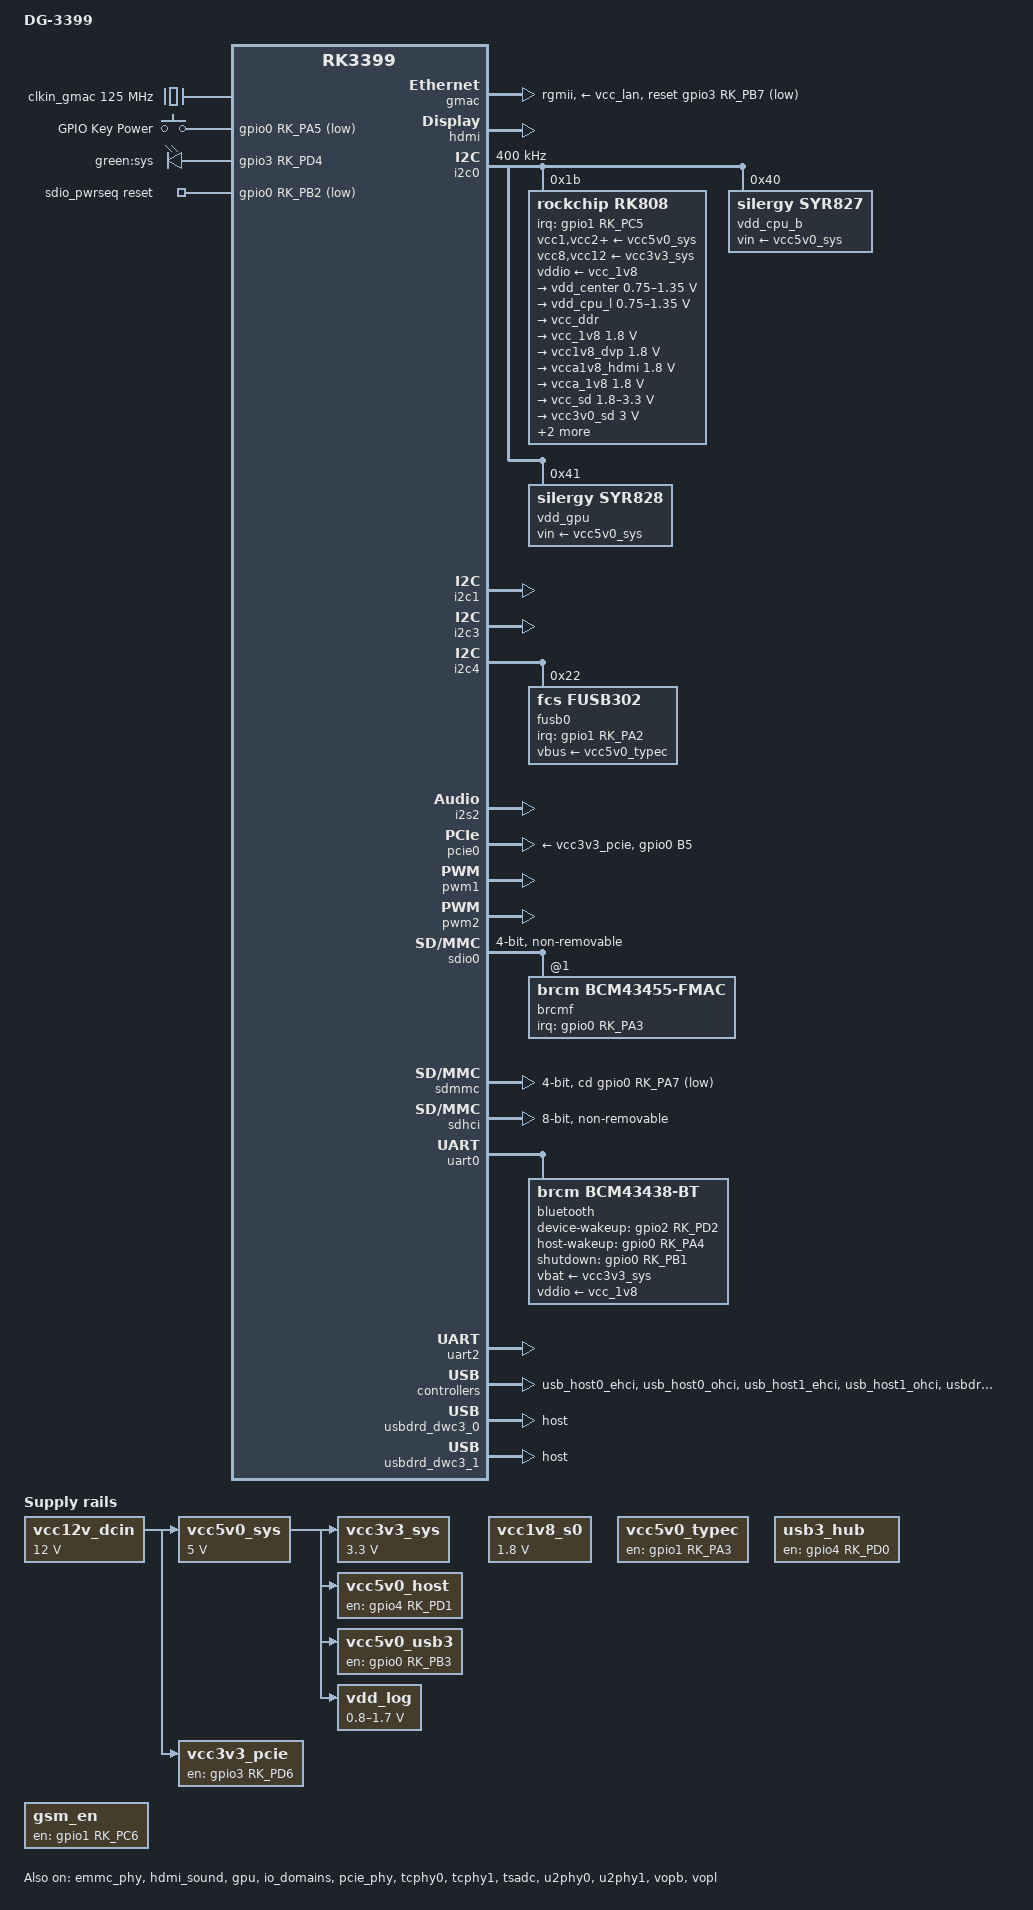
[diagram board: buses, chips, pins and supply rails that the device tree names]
// SPDX-License-Identifier: (GPL-2.0+ OR MIT)
/dts-v1/;

#include <dt-bindings/input/linux-event-codes.h>
#include <dt-bindings/pwm/pwm.h>
#include "dt-bindings/input/input.h"
#include <dt-bindings/interrupt-controller/irq.h>
#include "dt-bindings/usb/pd.h"
#include "rk3399.dtsi"
#include "rk3399-opp.dtsi"

/ {
	model = "DG-3399";
	compatible = "ryd,dg-3399", "rockchip,rk3399";

	aliases {
		mmc0 = &sdio0;
		mmc1 = &sdmmc;
		mmc2 = &sdhci;
	};

	chosen {
		stdout-path = "serial2:1500000n8";
	};

	clkin_gmac: external-gmac-clock {
		compatible = "fixed-clock";
		clock-frequency = <125000000>;
		clock-output-names = "clkin_gmac";
		#clock-cells = <0>;
	};

	gpio-keys {
		compatible = "gpio-keys";
		autorepeat;
		pinctrl-names = "default";
		pinctrl-0 = <&pwrbtn>;

		key-power {
			debounce-interval = <100>;
			gpios = <&gpio0 RK_PA5 GPIO_ACTIVE_LOW>; // bsp
			label = "GPIO Key Power";
			linux,code = <KEY_POWER>;
			wakeup-source;
		};
	};
/*
	ir-receiver {
		compatible = "gpio-ir-receiver";
		gpios = <&gpio0 RK_PA6 GPIO_ACTIVE_LOW>;
		pinctrl-0 = <&ir_int>;
		pinctrl-names = "default";
	};
*/
	leds {
		compatible = "gpio-leds";
		pinctrl-names = "default";
		pinctrl-0 = <&sys_led_pin>;

		sys_led: led-0 {
			label = "green:sys";
			default-state = "off";
			linux,default-trigger = "heartbeat";
			gpios = <&gpio3 RK_PD4 GPIO_ACTIVE_HIGH>; // bsp
		};
	};

	sdio_pwrseq: sdio-pwrseq {
		compatible = "mmc-pwrseq-simple";
		clocks = <&rk808 1>;
		clock-names = "ext_clock";
		pinctrl-names = "default";
		pinctrl-0 = <&wifi_enable_h>;
		reset-gpios = <&gpio0 RK_PB2 GPIO_ACTIVE_LOW>; // bsp
	};

	vcc12v_dcin: vcc12v-dcin {
		compatible = "regulator-fixed";
		regulator-name = "vcc12v_dcin";
		regulator-always-on;
		regulator-boot-on;
		regulator-min-microvolt = <12000000>;
		regulator-max-microvolt = <12000000>;
	};

	vcc1v8_s0: vcc1v8-s0 {
		compatible = "regulator-fixed"; // bsp
		regulator-name = "vcc1v8_s0";
		regulator-always-on;
		regulator-boot-on;
		regulator-min-microvolt = <1800000>;
		regulator-max-microvolt = <1800000>;
	};

	vcc3v3_sys: vcc3v3-sys {
		compatible = "regulator-fixed"; // bsp
		regulator-name = "vcc3v3_sys";
		regulator-always-on;
		regulator-boot-on;
		regulator-min-microvolt = <3300000>;
		regulator-max-microvolt = <3300000>;
		vin-supply = <&vcc5v0_sys>;
	};

	vcc5v0_host: vcc5v0-host-regulator {
		compatible = "regulator-fixed";
		enable-active-high;
		gpio = <&gpio4 RK_PD1 GPIO_ACTIVE_HIGH>;
		pinctrl-names = "default";
		pinctrl-0 = <&vcc5v0_host_en>; // bsp
		regulator-name = "vcc5v0_host";
		regulator-always-on;
		vin-supply = <&vcc5v0_sys>;
	};

	vcc5v0_typec: vcc5v0-typec-regulator {
		compatible = "regulator-fixed";
		enable-active-high;
		gpio = <&gpio1 RK_PA3 GPIO_ACTIVE_HIGH>; //bsp
		pinctrl-names = "default";
		pinctrl-0 = <&vcc5v0_typec_en>;
		regulator-name = "vcc5v0_typec";
		regulator-always-on;
	};

	vcc5v0_usb3: vcc5v0-usb3-regulator {
		compatible = "regulator-fixed";
		enable-active-high;
		gpio = <&gpio0 RK_PB3 GPIO_ACTIVE_HIGH>;
		pinctrl-names = "default";
		pinctrl-0 = <&vcc5v0_usb3_en>; // bsp
		regulator-name = "vcc5v0_usb3";
		regulator-always-on;
		vin-supply = <&vcc5v0_sys>;
	};

	vcc5v0_sys: vcc5v0-sys {
		compatible = "regulator-fixed";
		regulator-name = "vcc5v0_sys";
		regulator-always-on;
		regulator-boot-on;
		regulator-min-microvolt = <5000000>;
		regulator-max-microvolt = <5000000>;
		vin-supply = <&vcc12v_dcin>;
	};

	vdd_log: vdd-log {
		compatible = "pwm-regulator";
		pwms = <&pwm2 0 25000 1>;
		pwm-supply = <&vcc5v0_sys>;
		regulator-name = "vdd_log";
		regulator-always-on;
		regulator-boot-on;
		regulator-min-microvolt = <800000>;
		regulator-max-microvolt = <1700000>;
	};

	usb3_hub: usb3-hub-en {
		compatible = "regulator-fixed";
		enable-active-high;
		gpio = <&gpio4 RK_PD0 GPIO_ACTIVE_HIGH>;
		pinctrl-names = "default";
		pinctrl-0 = <&usb3_hub_en>; // bsp
		regulator-name = "usb3_hub_en";
		regulator-always-on;
	};

	gsm_en: gsm-en {
		compatible = "regulator-fixed";
		enable-active-high;
		gpio = <&gpio1 RK_PC6 GPIO_ACTIVE_HIGH>; // bsp
		pinctrl-names = "default";
		pinctrl-0 = <&gsm_power_en>; // bsp
		regulator-name = "gsm_power_en";
		regulator-always-on;
	};

	vcc3v3_pcie: vcc3v3-pcie-regulator {
		compatible = "regulator-fixed";
		enable-active-high;
		gpio = <&gpio3 RK_PD6 GPIO_ACTIVE_HIGH>; // verify
		pinctrl-names = "default";
		pinctrl-0 = <&pcie_pwr_en>;
		regulator-name = "vcc3v3_pcie";
		regulator-always-on;
		regulator-boot-on;
		vin-supply = <&vcc12v_dcin>;
	};
/*
	watchdog: watchdog-en {
		compatible = "regulator-fixed";
		enable-active-low;
		gpio = <&gpio1 RK_PA4 GPIO_ACTIVE_LOW>; // bsp
		pinctrl-names = "default";
		pinctrl-0 = <&watchdog_en>; // bsp
		regulator-name = "watchdog_en";
		regulator-always-on;
	};

	watchdog: watchdog {
		pinctrl-names = "default";
		pinctrl-0 = <&watchdog_feed>;
		compatible = "linux,wdt-gpio";
		always-running;
		gpios = <&gpio1 RK_PA4 GPIO_ACTIVE_HIGH>;
		hw_algo = "toggle";
		hw_margin_ms = <1500>;
		status = "disabled";
	};
*/
/*
	rt5651-sound {
		status = "okay";
		compatible = "simple-audio-card";
		pinctrl-names = "default";
		pinctrl-0 = <&hp_det>;

		simple-audio-card,name = "rt5651";
		simple-audio-card,format = "i2s";
		simple-audio-card,mclk-fs = <256>;
		simple-audio-card,hp-det-gpio = <&gpio4 RK_PD4 GPIO_ACTIVE_HIGH>; // bsp
		simple-audio-card,aux-devs = <&speaker_amp>;
		simple-audio-card,pin-switches = "Speaker";
		simple-audio-card,widgets =
			"Microphone", "Headset Microphone",
			"Microphone", "Internal Microphone",
			"Headphone", "Headphones",
			"Speaker", "Speaker";
		simple-audio-card,routing =
			"Headphones", "HPOL",
			"Headphones", "HPOR",

			"Internal Microphone", "micbias1",
			"IN2P", "Internal Microphone",
			"IN2N", "Internal Microphone",
			"IN1P", "Headset Microphone",

			"Speaker Amplifier INL", "HPOL",
			"Speaker Amplifier INR", "HPOR",
			"Speaker", "Speaker Amplifier OUTL",
			"Speaker", "Speaker Amplifier OUTR";
		simple-audio-card,cpu {
			sound-dai = <&i2s0>;
		};
		simple-audio-card,codec {
			sound-dai = <&rt5651>;
		};
	};

	speaker_amp: speaker-amplifier {
		compatible = "simple-audio-amplifier";
		pinctrl-names = "default";
		pinctrl-0 = <&spk_ctl>;
		enable-gpios = <&gpio4 RK_PC5 GPIO_ACTIVE_HIGH>; // bsp
		sound-name-prefix = "Speaker Amplifier";
		vcc-supply = <&vcc5v0_sys>;
	};
*/
/*
	lcd_bl: lcd-bl {
			compatible = "gpio-backlight";
			gpios = <&gpio 44 GPIO_ACTIVE_HIGH>;
	};
*/
};

&cpu_l0 {
	cpu-supply = <&vdd_cpu_l>;
};

&cpu_l1 {
	cpu-supply = <&vdd_cpu_l>;
};

&cpu_l2 {
	cpu-supply = <&vdd_cpu_l>;
};

&cpu_l3 {
	cpu-supply = <&vdd_cpu_l>;
};

&cpu_b0 {
	cpu-supply = <&vdd_cpu_b>;
};

&cpu_b1 {
	cpu-supply = <&vdd_cpu_b>;
};

&emmc_phy {
	status = "okay";
};

&gmac {
	assigned-clocks = <&cru SCLK_RMII_SRC>;
	assigned-clock-parents = <&clkin_gmac>;
	clock_in_out = "input";
	phy-supply = <&vcc_lan>;
	phy-mode = "rgmii";
	pinctrl-names = "default";
	pinctrl-0 = <&rgmii_pins>;
	snps,reset-gpio = <&gpio3 RK_PB7 GPIO_ACTIVE_LOW>; // bsp
	snps,reset-active-low;
	snps,reset-delays-us = <0 10000 50000>;
	tx_delay = <0x28>;
	rx_delay = <0x11>;
	status = "okay";
};

&hdmi {
	ddc-i2c-bus = <&i2c3>;
	pinctrl-names = "default";
	pinctrl-0 = <&hdmi_cec>;
	status = "okay";
};

&hdmi_sound {
	status = "okay";
};

&gpu {
	mali-supply = <&vdd_gpu>;
	status = "okay";
};

&i2c0 {
	clock-frequency = <400000>;
	i2c-scl-rising-time-ns = <168>;
	i2c-scl-falling-time-ns = <4>;
	status = "okay";

	rk808: pmic@1b {
		compatible = "rockchip,rk808";
		reg = <0x1b>;
		interrupt-parent = <&gpio1>;
		interrupts = <RK_PC5 IRQ_TYPE_LEVEL_LOW>;
		#clock-cells = <1>;
		clock-output-names = "xin32k", "rk808-clkout2";
		pinctrl-names = "default";
		pinctrl-0 = <&pmic_int_l>;
		rockchip,system-power-controller;
		wakeup-source;

		vcc1-supply = <&vcc5v0_sys>;
		vcc2-supply = <&vcc5v0_sys>;
		vcc3-supply = <&vcc5v0_sys>;
		vcc4-supply = <&vcc5v0_sys>;
		vcc6-supply = <&vcc5v0_sys>;
		vcc7-supply = <&vcc5v0_sys>;
		vcc8-supply = <&vcc3v3_sys>;
		vcc9-supply = <&vcc5v0_sys>;
		vcc10-supply = <&vcc5v0_sys>;
		vcc11-supply = <&vcc5v0_sys>;
		vcc12-supply = <&vcc3v3_sys>;
		vddio-supply = <&vcc_1v8>;

		regulators {
			vdd_center: DCDC_REG1 {
				regulator-name = "vdd_center";
				regulator-always-on;
				regulator-boot-on;
				regulator-min-microvolt = <750000>;
				regulator-max-microvolt = <1350000>;
				regulator-ramp-delay = <6001>;
				regulator-state-mem {
					regulator-off-in-suspend;
				};
			};

			vdd_cpu_l: DCDC_REG2 {
				regulator-name = "vdd_cpu_l";
				regulator-always-on;
				regulator-boot-on;
				regulator-min-microvolt = <750000>;
				regulator-max-microvolt = <1350000>;
				regulator-ramp-delay = <6001>;
				regulator-state-mem {
					regulator-off-in-suspend;
				};
			};

			vcc_ddr: DCDC_REG3 {
				regulator-name = "vcc_ddr";
				regulator-always-on;
				regulator-boot-on;
				regulator-state-mem {
					regulator-on-in-suspend;
				};
			};

			vcc_1v8: DCDC_REG4 {
				regulator-name = "vcc_1v8";
				regulator-always-on;
				regulator-boot-on;
				regulator-min-microvolt = <1800000>;
				regulator-max-microvolt = <1800000>;
				regulator-state-mem {
					regulator-on-in-suspend;
					regulator-suspend-microvolt = <1800000>;
				};
			};

			vcc1v8_dvp: LDO_REG1 {
				regulator-name = "vcc1v8_dvp";
				regulator-always-on;
				regulator-boot-on;
				regulator-min-microvolt = <1800000>;
				regulator-max-microvolt = <1800000>;
				regulator-state-mem {
					regulator-on-in-suspend;
					regulator-suspend-microvolt = <1800000>;
				};
			};

			vcca1v8_hdmi: LDO_REG2 {
				regulator-name = "vcca1v8_hdmi";
				regulator-min-microvolt = <1800000>; // bsp 3300000
				regulator-max-microvolt = <1800000>; // bsp 3300000
				regulator-state-mem {
					regulator-on-in-suspend;
					regulator-suspend-microvolt = <1800000>;
				};
			};

			vcca_1v8: LDO_REG3 {
				regulator-name = "vcca_1v8";
				regulator-always-on;
				regulator-boot-on;
				regulator-min-microvolt = <1800000>;
				regulator-max-microvolt = <1800000>;
				regulator-state-mem {
					regulator-on-in-suspend;
					regulator-suspend-microvolt = <1800000>;
				};
			};

			vcc_sd: LDO_REG4 {
				regulator-name = "vcc_sd";
				regulator-always-on;
				regulator-boot-on;
				regulator-min-microvolt = <1800000>;
				regulator-max-microvolt = <3300000>;
				regulator-state-mem {
					regulator-on-in-suspend;
					regulator-suspend-microvolt = <3300000>;
				};
			};

			vcc3v0_sd: LDO_REG5 {
				regulator-name = "vcc3v0_sd";
				regulator-always-on;
				regulator-boot-on;
				regulator-min-microvolt = <3000000>;
				regulator-max-microvolt = <3000000>;
				regulator-state-mem {
					regulator-off-in-suspend;
					regulator-suspend-microvolt = <3000000>;
				};
			};

			vcc_1v5: LDO_REG6 {
				regulator-name = "vcc_1v5";
				regulator-always-on;
				regulator-boot-on;
				regulator-min-microvolt = <1500000>;
				regulator-max-microvolt = <1500000>;
				regulator-state-mem {
					regulator-on-in-suspend;
					regulator-suspend-microvolt = <1500000>;
				};
			};

			vcca0v9_hdmi: LDO_REG7 {
				regulator-name = "vcca0v9_hdmi";
				regulator-always-on;
				regulator-boot-on;
				regulator-min-microvolt = <1800000>;
				regulator-max-microvolt = <1800000>;
				regulator-state-mem {
					regulator-on-in-suspend;
					regulator-suspend-microvolt = <1800000>;
				};
			};

			vcc_3v0: LDO_REG8 {
				regulator-name = "vcc_3v0";
				regulator-always-on;
				regulator-boot-on;
				regulator-min-microvolt = <3000000>;
				regulator-max-microvolt = <3000000>;
				regulator-state-mem {
					regulator-on-in-suspend;
					regulator-suspend-microvolt = <3000000>;
				};
			};

			vcc3v3_s3: vcc_lan: SWITCH_REG1 {
				regulator-name = "vcc3v3_s3";
				regulator-always-on;
				regulator-boot-on;
				regulator-state-mem {
					regulator-on-in-suspend;
				};
			};

			vcc3v3_s0: SWITCH_REG2 {
				regulator-name = "vcc3v3_s0";
				regulator-state-mem {
					regulator-on-in-suspend;
				};
			};
		};
	};

	vdd_cpu_b: regulator@40 {
		compatible = "silergy,syr827";
		reg = <0x40>;
		fcs,suspend-voltage-selector = <1>;
		pinctrl-names = "default";
		pinctrl-0 = <&vsel1_pin>;  // bsp
		regulator-name = "vdd_cpu_b";
		regulator-min-microvolt = <712500>;
		regulator-max-microvolt = <1500000>;
		regulator-ramp-delay = <1000>;
		regulator-always-on;
		regulator-boot-on;
		vin-supply = <&vcc5v0_sys>;

		regulator-state-mem {
			regulator-off-in-suspend;
		};
	};

	vdd_gpu: regulator@41 {
		compatible = "silergy,syr828";
		reg = <0x41>;
		fcs,suspend-voltage-selector = <1>;
		pinctrl-names = "default";
		pinctrl-0 = <&vsel2_pin>; // bsp
		regulator-name = "vdd_gpu";
		regulator-min-microvolt = <712500>;
		regulator-max-microvolt = <1500000>;
		regulator-ramp-delay = <1000>;
		regulator-always-on;
		regulator-boot-on;
		vin-supply = <&vcc5v0_sys>;

		regulator-state-mem {
			regulator-off-in-suspend;
		};
	};
};

&i2c1 {
	i2c-scl-rising-time-ns = <300>;
	i2c-scl-falling-time-ns = <15>;
	status = "okay";
/*
	rt5651: rt5651@1a {
		#sound-dai-cells = <0>;
		compatible = "realtek,rt5651";
		reg = <0x1a>;
		clocks = <&cru SCLK_I2S_8CH_OUT>;
		clock-names = "mclk";
		status = "okay";
	};
*/
};

// HDMI
&i2c3 {
	i2c-scl-rising-time-ns = <450>;
	i2c-scl-falling-time-ns = <15>;
	status = "okay";
};

// TP I2C
&i2c4 {
	i2c-scl-rising-time-ns = <600>;
	i2c-scl-falling-time-ns = <20>;
	status = "okay";

	fusb0: typec-portc@22 {
		compatible = "fcs,fusb302";
		reg = <0x22>;
		interrupt-parent = <&gpio1>;
		interrupts = <RK_PA2 IRQ_TYPE_LEVEL_LOW>; // bsp
		pinctrl-names = "default";
		pinctrl-0 = <&fusb0_int>;
		vbus-supply = <&vcc5v0_typec>;
		status = "okay";
	};

	wk2204: wk2xxx@70 {
		compatible = "wk2xxx,wk2xxxtty";
		reg = <0x70>;
		pinctrl-names = "default";
		pinctrl-0 = <&wk2xxx_irq_pin &wk2xxx_cs_pin>;
		wk2xxx_irq_pin = <&gpio4 RK_PD2 GPIO_ACTIVE_LOW>;
		wk2xxx_cs_pin = <&gpio4 RK_PD1 GPIO_ACTIVE_HIGH>;
		status = "disabled";
	};
};
/*
&i2s0_8ch_bus {
	rockchip,pins =
		<3 RK_PD0 1 &pcfg_pull_none>,
		<3 RK_PD1 1 &pcfg_pull_none>,
		<3 RK_PD2 1 &pcfg_pull_none>,
		<3 RK_PD3 1 &pcfg_pull_none>,
		<3 RK_PD6 1 &pcfg_pull_none>,
		<3 RK_PD7 1 &pcfg_pull_none>,
		<4 RK_PA0 1 &pcfg_pull_none>;
};

&i2s0_8ch_bus_bclk_off {
	rockchip,pins =
		<3 RK_PD0 RK_FUNC_GPIO &pcfg_pull_none>,
		<3 RK_PD1 1 &pcfg_pull_none>,
		<3 RK_PD2 1 &pcfg_pull_none>,
		<3 RK_PD3 1 &pcfg_pull_none>,
		<3 RK_PD6 1 &pcfg_pull_none>,
		<3 RK_PD7 1 &pcfg_pull_none>,
		<4 RK_PA0 1 &pcfg_pull_none>;
};

&i2s0{
	pinctrl-names = "default";
	pinctrl-0 = <&i2s_8ch_mclk_pin>, <&i2s0_8ch_bus>;
	#sound-dai-cells = <0>;
	rockchip,capture-channels = <8>;
	rockchip,playback-channels = <8>;
	status = "okay";
};
*/
// HDMI sound
&i2s2 {
	#sound-dai-cells = <0>;
	status = "okay";
};

&io_domains {
	status = "okay";

	bt656-supply = <&vcc1v8_s0>; // bsp
	audio-supply = <&vcc1v8_s0>; // bsp
	sdmmc-supply = <&vcc_sd>; // bsp
	gpio1830-supply = <&vcc_3v0>; // bsp
};

// not work
&pcie0 {
	ep-gpios = <&gpio0 RK_PB5 GPIO_ACTIVE_HIGH>; // verify
	pinctrl-names = "default";
	pinctrl-0 = <&pcie_perst>;
	vpcie12v-supply = <&vcc12v_dcin>;
	vpcie3v3-supply = <&vcc3v3_pcie>;
	status = "okay";
};

&pcie_phy {
	status = "okay";
};

&pmu_io_domains {
	pmu1830-supply = <&vcc_3v0>; // bsp
	status = "okay";
};

&pinctrl {
	bt {
		bt_enable_h: bt-enable-h {
			rockchip,pins = <0 RK_PB1 RK_FUNC_GPIO &pcfg_pull_none>; // bsp
		};

		bt_host_wake_l: bt-host-wake-l {
			rockchip,pins = <0 RK_PA4 RK_FUNC_GPIO &pcfg_pull_down>; // bsp
		};

		bt_wake_l: bt-wake-l {
			rockchip,pins = <2 RK_PD2 RK_FUNC_GPIO &pcfg_pull_none>; // bsp
		};
	};

	wifi {
		wifi_host_wake_l: wifi-host-wake-l {
			rockchip,pins = <0 RK_PA3 RK_FUNC_GPIO &pcfg_pull_none>; // sch
		};
	};

	buttons {
		pwrbtn: pwrbtn {
			rockchip,pins = <0 RK_PA5 RK_FUNC_GPIO &pcfg_pull_up>; // bsp
		};
	};

	fusb302x {
		fusb0_int: fusb0-int {
			rockchip,pins = <1 RK_PA2 RK_FUNC_GPIO &pcfg_pull_up>; // bsp
		};
	};

	ir {
		ir_int: ir-int {
			rockchip,pins = <0 RK_PA6 RK_FUNC_GPIO &pcfg_pull_none>;
		};
	};

	pcie {
		pcie_perst: pcie-perst {
			rockchip,pins = <0 RK_PB5 RK_FUNC_GPIO &pcfg_pull_none>; // verify
		};

		pcie_pwr_en: pcie-pwr-en {
			rockchip,pins = <3 RK_PD6 RK_FUNC_GPIO &pcfg_pull_none>; // verify
		};
	};

	pmic {
		pmic_int_l: pmic-int-l {
			rockchip,pins = <1 RK_PC5 RK_FUNC_GPIO &pcfg_pull_up>; // bsp
		};

		vsel1_pin: vsel1-pin {
			rockchip,pins = <1 RK_PC1 RK_FUNC_GPIO &pcfg_pull_down>; // bsp
		};

		vsel2_pin: vsel2-pin {
			rockchip,pins = <1 RK_PB6 RK_FUNC_GPIO &pcfg_pull_down>; // bsp
		};
	};

	sdcard {
		sdmmc0_pwr_h: sdmmc0-pwr-h {
			rockchip,pins = <0 RK_PA1 RK_FUNC_GPIO &pcfg_pull_none>; // bsp
		};

	};

	sdio-pwrseq {
		wifi_enable_h: wifi-enable-h {
			rockchip,pins = <0 RK_PB2 RK_FUNC_GPIO &pcfg_pull_none>; // bsp
		};
	};

	usb-typec {
		vcc5v0_typec_en: vcc5v0_typec_en {
			rockchip,pins = <1 RK_PA3 RK_FUNC_GPIO &pcfg_pull_up>; // bsp
		};
	};

	usb {
		vcc5v0_host_en: vcc5v0-host-en {
			rockchip,pins = <4 RK_PD1 RK_FUNC_GPIO &pcfg_pull_none>; // bsp
		};
		vcc5v0_usb3_en: vcc5v0-usb3-en {
			rockchip,pins = <0 RK_PB3 RK_FUNC_GPIO &pcfg_pull_up>; // bsp
		};
		usb3_hub_en: usb3-hub-en {
			rockchip,pins = <4 RK_PD0 RK_FUNC_GPIO &pcfg_pull_up>; // bsp
		};
	};

	headphone {
		hp_det: hp-det {
			rockchip,pins = <4 RK_PD4 RK_FUNC_GPIO &pcfg_pull_up>; // bsp
		};
		spk_ctl: spk-ctl {
			rockchip,pins = <4 RK_PC5 RK_FUNC_GPIO &pcfg_pull_none>; // bsp
		};
	};

	func_gpio {
		wk2xxx_irq_pin: wk2xxx-irq-pin {
			rockchip,pins = <4 RK_PD2 RK_FUNC_GPIO &pcfg_pull_down>; // bsp
		};
		wk2xxx_cs_pin: wk2xxx-cs-pin {
			rockchip,pins = <4 RK_PD1 RK_FUNC_GPIO &pcfg_pull_up>; // bsp
		};
		wakeonlan_pin: wakeonlan-pin {
			rockchip,pins = <3 RK_PC0 RK_FUNC_GPIO &pcfg_pull_down>; // bsp
		};
		pwr_hold: pwr-hold {
			rockchip,pins = <1 RK_PB5 RK_FUNC_GPIO &pcfg_pull_up>; // bsp
		};
		sys_led_pin: sys-led-pin {
			rockchip,pins = <3 RK_PD4 RK_FUNC_GPIO &pcfg_pull_none>; // bsp
		};
		human_induction: human-induction {
			rockchip,pins = <1 RK_PA0 RK_FUNC_GPIO &pcfg_pull_none>; // bsp
		};
		infrared_test: infrared-test {
			rockchip,pins = <4 RK_PC6 RK_FUNC_GPIO &pcfg_pull_none>; // bsp
		};
		heartbeat_test: heartbeat-test {
			rockchip,pins = <1 RK_PC4 RK_FUNC_GPIO &pcfg_pull_none>; // bsp
		};
		watchdog_feed: watchdog-feed {
			rockchip,pins = <1 RK_PA4 RK_FUNC_GPIO &pcfg_pull_up>; // bsp
		};
		watchdog_en: watchdog-en {
			rockchip,pins = <1 RK_PC2 RK_FUNC_GPIO &pcfg_pull_down>; // bsp
		};
		gsm_power_en: gsm-power-en {
			rockchip,pins = <1 RK_PC6 RK_FUNC_GPIO &pcfg_pull_down>; // bsp
		};
		gsm_reset_pin: gsm-reset-pin {
			rockchip,pins = <1 RK_PD0 RK_FUNC_GPIO &pcfg_pull_down>; // bsp
		};
		gdm_disable_pin: gdm-disable-pin {
			rockchip,pins = <0 RK_PA2 RK_FUNC_GPIO &pcfg_pull_down>; // bsp
		};
		gsm_sim_det: gsm-sim-det {
			rockchip,pins = <1 RK_PC7 RK_FUNC_GPIO &pcfg_pull_down>; // bsp
		};
		gpio_a0_pin: gpio-a0-pin {
			rockchip,pins = <1 RK_PA0 RK_FUNC_GPIO &pcfg_pull_none>;
		};
		// tp_rst_pin: tp-rst-pin {
		// 	rockchip,pins = <4 RK_PC6 RK_FUNC_GPIO &pcfg_pull_none>;
		// };
		// tp_int_pin: tp-int-pin {
		// 	rockchip,pins = <1 RK_PC4 RK_FUNC_GPIO &pcfg_pull_none>;
		// };
	};

	gmac {
		rgmii_sleep_pins: rgmii-sleep-pins {
			rockchip,pins =<3 RK_PB7 RK_FUNC_GPIO &pcfg_output_low>; // sch
		};
	};

	i2s0 {
		i2s_8ch_mclk_pin: i2s-8ch-mclk-pin {
			rockchip,pins = <4 RK_PA0 1 &pcfg_pull_none>;
		};
	};
};

&pwm1 {
	status = "okay";
};

&pwm2 {
	status = "okay";
};

&sdio0 {
	status = "okay";
	#address-cells = <1>;
	#size-cells = <0>;
	bus-width = <4>;
	clock-frequency = <50000000>;
	cap-sdio-irq;
	cap-sd-highspeed;
	keep-power-in-suspend;
	mmc-pwrseq = <&sdio_pwrseq>;
	non-removable;
	pinctrl-names = "default";
	pinctrl-0 = <&sdio0_bus4 &sdio0_cmd &sdio0_clk>;
	sd-uhs-sdr104;

	brcmf: wifi@1 {
		compatible = "brcm,bcm43455-fmac";
		reg = <1>;
		interrupt-parent = <&gpio0>;
		interrupts = <RK_PA3 GPIO_ACTIVE_HIGH>;
		interrupt-names = "host-wake";
		pinctrl-names = "default";
		pinctrl-0 = <&wifi_host_wake_l>; // sch
	};
};

&sdmmc {
	bus-width = <4>;
	cap-sd-highspeed;
	cd-gpios = <&gpio0 RK_PA7 GPIO_ACTIVE_LOW>; // bsp
	disable-wp;
	sd-uhs-sdr104;
	max-frequency = <150000000>;
	pinctrl-names = "default";
	pinctrl-0 = <&sdmmc_clk &sdmmc_cmd &sdmmc_cd &sdmmc_bus4>;
	vqmmc-supply = <&vcc_sd>;
	status = "okay";
};

&sdhci {
	bus-width = <8>;
	mmc-hs400-1_8v;
	mmc-hs400-enhanced-strobe;
	non-removable;
	status = "okay";
};

&tcphy0 {
	status = "okay";
};

&tcphy1 {
	status = "okay";
};

&tsadc {
	/* tshut mode 0:CRU 1:GPIO */
	rockchip,hw-tshut-mode = <1>;
	/* tshut polarity 0:LOW 1:HIGH */
	rockchip,hw-tshut-polarity = <1>;
	status = "okay";
};

&u2phy0 {
	status = "okay";

	u2phy0_otg: otg-port {
		phy-supply = <&vcc5v0_typec>;
		status = "okay";
	};

	u2phy0_host: host-port {
		phy-supply = <&vcc5v0_host>;
		status = "okay";
	};
};

&u2phy1 {
	status = "okay";

	u2phy1_otg: otg-port {
		status = "okay";
	};

	u2phy1_host: host-port {
		phy-supply = <&vcc5v0_host>;
		status = "okay";
	};
};

&uart0 {
	pinctrl-names = "default";
	pinctrl-0 = <&uart0_xfer &uart0_cts &uart0_rts>;
	status = "okay";

	bluetooth {
		compatible = "brcm,bcm43438-bt";
		clocks = <&rk808 1>;
		clock-names = "lpo";
		device-wakeup-gpios = <&gpio2 RK_PD2 GPIO_ACTIVE_HIGH>; // bsp
		host-wakeup-gpios = <&gpio0 RK_PA4 GPIO_ACTIVE_HIGH>; // bsp
		shutdown-gpios = <&gpio0 RK_PB1 GPIO_ACTIVE_HIGH>; // bsp
		pinctrl-names = "default";
		pinctrl-0 = <&bt_host_wake_l &bt_wake_l &bt_enable_h>;
		vbat-supply = <&vcc3v3_sys>;
		vddio-supply = <&vcc_1v8>;
	};
};

&uart2 {
	status = "okay";
};

// near MIC
&spi1 {
	status = "disabled";
	display@0 {
			compatible = "jianda,jd-t18003-t01", "sitronix,st7735r";
			reg = <0>;
			pinctrl-names = "default";
			spi-max-frequency = <32000000>;
			dc-gpios = <&gpio1 RK_PC4 GPIO_ACTIVE_HIGH>;
			reset-gpios = <&gpio4 RK_PC6 GPIO_ACTIVE_HIGH>;
			rotation = <270>;
			// backlight = <&lcd_bl>;
	};
};

&usb_host0_ehci {
	status = "okay";
};

&usb_host0_ohci {
	status = "okay";
};

&usb_host1_ehci {
	status = "okay";
};

&usb_host1_ohci {
	status = "okay";
};

&usbdrd3_0 {
	status = "okay";
};

&usbdrd_dwc3_0 {
	status = "okay";
	dr_mode = "host";
};

&usbdrd3_1 {
	status = "okay";
};

&usbdrd_dwc3_1 {
	status = "okay";
	dr_mode = "host";
};

&vopb {
	status = "okay";
};

&vopb_mmu {
	status = "okay";
};

&vopl {
	status = "okay";
};

&vopl_mmu {
	status = "okay";
};
